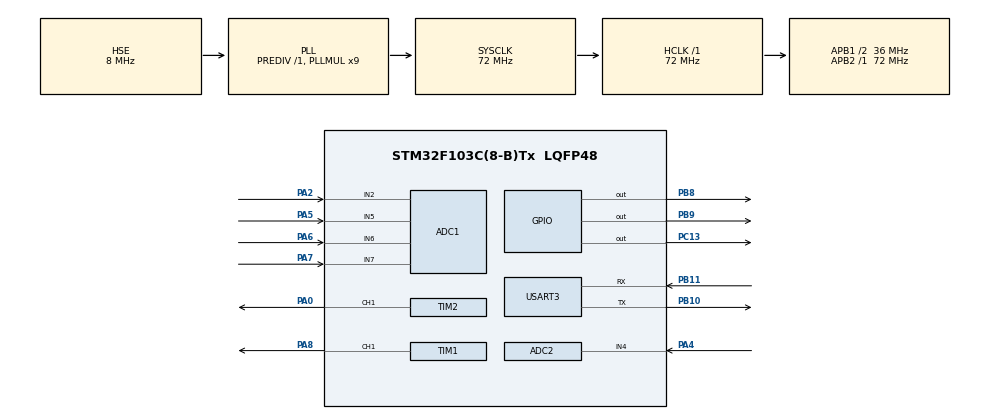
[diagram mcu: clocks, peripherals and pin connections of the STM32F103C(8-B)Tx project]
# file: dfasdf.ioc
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ADC1.Channel-0\#ChannelRegularConversion=ADC_CHANNEL_2
ADC1.Channel-1\#ChannelRegularConversion=ADC_CHANNEL_5
ADC1.Channel-2\#ChannelRegularConversion=ADC_CHANNEL_6
ADC1.Channel-3\#ChannelRegularConversion=ADC_CHANNEL_7
ADC1.ContinuousConvMode=ENABLE
ADC1.NbrOfConversion=4
ADC1.NbrOfConversionFlag=1
ADC1.Rank-0\#ChannelRegularConversion=1
ADC1.Rank-1\#ChannelRegularConversion=2
ADC1.Rank-2\#ChannelRegularConversion=3
ADC1.Rank-3\#ChannelRegularConversion=4
ADC1.SamplingTime-0\#ChannelRegularConversion=ADC_SAMPLETIME_55CYCLES_5
ADC1.SamplingTime-1\#ChannelRegularConversion=ADC_SAMPLETIME_55CYCLES_5
ADC1.SamplingTime-2\#ChannelRegularConversion=ADC_SAMPLETIME_55CYCLES_5
ADC1.SamplingTime-3\#ChannelRegularConversion=ADC_SAMPLETIME_55CYCLES_5
ADC1.master=1
ADC2.Channel-0\#ChannelRegularConversion=ADC_CHANNEL_4
ADC2.NbrOfConversionFlag=1
ADC2.Rank-0\#ChannelRegularConversion=1
ADC2.SamplingTime-0\#ChannelRegularConversion=ADC_SAMPLETIME_55CYCLES_5
Dma.ADC1.0.Direction=DMA_PERIPH_TO_MEMORY
Dma.ADC1.0.Instance=DMA1_Channel1
Dma.ADC1.0.MemDataAlignment=DMA_MDATAALIGN_HALFWORD
Dma.ADC1.0.MemInc=DMA_MINC_ENABLE
Dma.ADC1.0.Mode=DMA_CIRCULAR
Dma.ADC1.0.PeriphDataAlignment=DMA_PDATAALIGN_HALFWORD
Dma.ADC1.0.PeriphInc=DMA_PINC_DISABLE
Dma.ADC1.0.Priority=DMA_PRIORITY_HIGH
Dma.Request0=ADC1
Mcu.Family=STM32F1
Mcu.Name=STM32F103C(8-B)Tx
Mcu.Package=LQFP48
NVIC.ADC1_2_IRQn=true\:1\:0\:true\:false\:true\:true\:true\:true
NVIC.DMA1_Channel1_IRQn=true\:0\:0\:false\:false\:true\:false\:true\:true
NVIC.PriorityGroup=NVIC_PRIORITYGROUP_4
NVIC.TIM2_IRQn=true\:0\:0\:false\:false\:true\:true\:true\:true
PA0-WKUP.Signal=S_TIM2_CH1_ETR
PA13.Mode=Serial_Wire
PA13.Signal=SYS_JTMS-SWDIO
PA14.Mode=Serial_Wire
PA14.Signal=SYS_JTCK-SWCLK
PA2.Signal=ADCx_IN2
PA4.Signal=ADCx_IN4
PA5.Signal=ADCx_IN5
PA6.Signal=ADCx_IN6
PA7.Signal=ADCx_IN7
PA8.Signal=S_TIM1_CH1
PB10.Mode=Asynchronous
PB10.Signal=USART3_TX
PB11.Mode=Asynchronous
PB11.Signal=USART3_RX
PB8.GPIO_ModeDefaultOutputPP=GPIO_MODE_OUTPUT_PP
PB8.GPIO_PuPd=GPIO_NOPULL
PB8.GPIO_Speed=GPIO_SPEED_FREQ_HIGH
PB8.PinState=GPIO_PIN_SET
PB8.Signal=GPIO_Output
PB9.GPIO_ModeDefaultOutputPP=GPIO_MODE_OUTPUT_PP
PB9.GPIO_PuPd=GPIO_NOPULL
PB9.GPIO_Speed=GPIO_SPEED_FREQ_HIGH
PB9.PinState=GPIO_PIN_SET
PB9.Signal=GPIO_Output
PC13-TAMPER-RTC.Signal=GPIO_Output
PD0-OSC_IN.Mode=HSE-External-Oscillator
PD0-OSC_IN.Signal=RCC_OSC_IN
PD1-OSC_OUT.Mode=HSE-External-Oscillator
PD1-OSC_OUT.Signal=RCC_OSC_OUT
ProjectManager.HeapSize=0x200
ProjectManager.StackSize=0x400
ProjectManager.TargetToolchain=MDK-ARM V5.32
RCC.ADCPresc=RCC_ADCPCLK2_DIV6
RCC.AHBFreq_Value=72000000
RCC.APB1CLKDivider=RCC_HCLK_DIV2
RCC.APB1Freq_Value=36000000
RCC.APB1TimFreq_Value=72000000
RCC.APB2Freq_Value=72000000
RCC.APB2TimFreq_Value=72000000
RCC.HCLKFreq_Value=72000000
RCC.PLLMUL=RCC_PLL_MUL9
RCC.PLLSourceVirtual=RCC_PLLSOURCE_HSE
RCC.SYSCLKFreq_VALUE=72000000
RCC.SYSCLKSource=RCC_SYSCLKSOURCE_PLLCLK
RCC.USBFreq_Value=72000000
SH.ADCx_IN2.0=ADC1_IN2,IN2
SH.ADCx_IN4.0=ADC2_IN4,IN4
SH.ADCx_IN5.0=ADC1_IN5,IN5
SH.ADCx_IN6.0=ADC1_IN6,IN6
SH.ADCx_IN7.0=ADC1_IN7,IN7
SH.S_TIM1_CH1.0=TIM1_CH1,PWM Generation1 CH1
SH.S_TIM2_CH1_ETR.0=TIM2_CH1,PWM Generation1 CH1
TIM1.Channel-PWM\ Generation1\ CH1=TIM_CHANNEL_1
TIM1.Period=2880 - 1
TIM2.AutoReloadPreload=TIM_AUTORELOAD_PRELOAD_DISABLE
TIM2.Channel-PWM\ Generation1\ CH1=TIM_CHANNEL_1
TIM2.Period=499
TIM2.Prescaler=71
USART3.VirtualMode=VM_ASYNC
VP_TIM1_VS_ClockSourceINT.Mode=Internal
VP_TIM2_VS_ClockSourceINT.Mode=Internal
board=custom

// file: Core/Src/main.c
/* USER CODE BEGIN Header */
/**
 ******************************************************************************
 * @file           : main.c
 * @brief          : Main program body
 ******************************************************************************
 * @attention
 *
 * Copyright (c) 2025 STMicroelectronics.
 * All rights reserved.
 *
 * This software is licensed under terms that can be found in the LICENSE file
 * in the root directory of this software component.
 * If no LICENSE file comes with this software, it is provided AS-IS.
 *
 ******************************************************************************
 */
/* USER CODE END Header */
#include "main.h"
#include "adc.h"
#include "dma.h"
#include "tim.h"
#include "usart.h"
#include "gpio.h"

/* USER CODE BEGIN Includes */
#include <stdint.h>
#include <stdio.h>
#include <math.h>
#include "oled.h"
#include "usart.h" // CubeMX generated
/* USER CODE END Includes */

/* USER CODE BEGIN PTD */
typedef enum {
  STATE_DARK,
  STATE_BRIGHT
} LightState;

// Protocol Packet
typedef struct __attribute__((packed)) {
  uint8_t head1; // 0xAA
  uint8_t head2; // 0x55
  float voltage;
  float ac_voltage;
  float temperature;
  float battery;
  float current;
  uint8_t checksum;
} UART_Packet;
/* USER CODE END PTD */

/* USER CODE BEGIN PD */
#define MAX_VOLTAGE 20.0f // 系统最大测量电压 (3.3V * 5.965)
#define PWM_PERIOD 2880   // PWM周期计数值

// 硬件参数定义 (NTC)
#define R_UP          3000.0f   // 上拉电阻 R72 = 3K
#define R_PARALLEL    5000.0f  // 并联电阻 R73 = 5K
#define V_CC          3.3f     // 供电电压 3.3V
#define B_VALUE       3950.0f  // NTC的B值
#define R_NTC_25      20000.0f //
#define T25           298.15f  // 25度对应的开尔文温度

// 1. 采样电阻 (R66)
#define CURRENT_SENSE_RES  0.005f  // 5毫欧

// 2. 运放放大倍数 (51k / 1k)
#define CURRENT_AMP_GAIN   51.0f   // 放大51倍

// 定义两个不同的窗口大小
#define FILTER_SIZE_FAST 10   // 给电流用 (5ms响应)
#define FILTER_SIZE_SLOW 80   // 给温度/电池用 (32ms响应，能盖过50Hz周期)
#define MAX_FILTER_SIZE  128   // 最大的那个，用于定义数组

typedef struct {
  uint16_t buffer[MAX_FILTER_SIZE]; // 数组开到最大
  uint8_t index;
  uint32_t sum;
  uint8_t count;
  uint8_t size; // 新增：每个滤波器自己的大小
} Filter_t;

typedef struct {
  float buffer[MAX_FILTER_SIZE];
  uint8_t index;
  float sum;
  uint8_t count;
  uint8_t size; // 新增
} Filter_Float_t;
/* USER CODE END PD */

/* USER CODE BEGIN PV */
PI_Controller voltage_pi;        // 电压环PI控制器
float voltage_setpoint = 12.0;   // 电压设定值 12V
float voltage_feedback = 0;      // 电压反馈值
uint16_t pwm_duty = 0;           // PWM占空比
volatile uint16_t adc_value = 0; // ADC转换结果 (由ADC中断更新)
volatile uint8_t adc_ready = 0;  // ADC数据就绪标志
LightState light_state = STATE_DARK;
float adc2_value = 0.0f;

// RMS Calculation Variables
volatile float adc_rms_voltage = 0.0f;
uint64_t adc_sq_sum = 0;
uint16_t adc_sample_cnt = 0;
#define RMS_SAMPLE_COUNT 100

// RMS Calculation Buffers (Main Loop)
volatile uint64_t adc_sq_sum_buf = 0;
volatile float vac_sq_sum_buf = 0.0f;
volatile uint8_t rms_ready_flag = 0; // Bit 0: ADC1, Bit 1: ADC2

// ADC DMA Buffer
volatile uint16_t adc_dma_buffer[4];
// buffer[0]: Feedback (PA2)
// buffer[1]: Temp (PA5)
// buffer[2]: Bat (PA6)
// buffer[3]: Current (PA7)

volatile uint16_t adc_vac_raw = 0;     // ADC2 PA4
volatile uint16_t adc_temp_raw = 0;    // ADC1 PA5
volatile uint16_t adc_bat_raw = 0;     // ADC1 PA6
volatile uint16_t adc_current_raw = 0; // ADC1 PA7

// Filtered Values
volatile uint16_t adc_temp_flt = 0;
volatile uint16_t adc_bat_flt = 0;
volatile uint16_t adc_current_flt = 0;
volatile float vac_rms_flt = 0.0f;

// Filter Structures
Filter_t flt_temp = {0};
Filter_t flt_bat = {0};
Filter_t flt_current = {0};
Filter_Float_t flt_vac = {0};

// VAC RMS Calculation Variables
volatile float vac_rms_voltage = 0.0f;
float vac_sq_sum = 0.0f;
uint16_t vac_sample_cnt = 0;
/* USER CODE END PV */

void SystemClock_Config(void);
/* USER CODE BEGIN PFP */
float Get_Temperature(uint16_t adc_val);
uint16_t Apply_Filter(Filter_t *f, uint16_t val);
float Apply_Filter_Float(Filter_Float_t *f, float val);
void Control_Loop_HAL(void); // Add prototype
void Filter_Init(Filter_t *f, uint8_t size);
void Filter_Float_Init(Filter_Float_t *f, uint8_t size);
/* USER CODE END PFP */

int main(void)
{

  /* MCU Configuration--------------------------------------------------------*/

  /* Reset of all peripherals, Initializes the Flash interface and the Systick. */
  HAL_Init();

  /* Configure the system clock */
  SystemClock_Config();

  /* Initialize all configured peripherals */
  MX_GPIO_Init();
  MX_DMA_Init();
  MX_TIM1_Init();
  MX_ADC1_Init();
  MX_TIM2_Init();
  MX_ADC2_Init();
  MX_USART3_UART_Init();
  /* USER CODE BEGIN 2 */

  // OLED_Init();
  // 初始化PI控制器
  // 对应参数: Kp=1.0, Ki=10.0, 输出限幅[0.0, 1.0]
  PI_Init(&voltage_pi, 1.0f, 12.0f, 1.0f, 0.0f);

  // 启动PWM (TIM1)
  HAL_TIM_PWM_Start(&htim1, TIM_CHANNEL_1);

  // 启动风扇PWM (TIM2_CH1)
  HAL_TIM_PWM_Start(&htim2, TIM_CHANNEL_1);
  __HAL_TIM_SET_COMPARE(&htim2, TIM_CHANNEL_1, 500); // 默认满速 (Period=499)

  // 校准ADC (提高精度)
  HAL_ADCEx_Calibration_Start(&hadc1);

  // 启动 ADC1 DMA (循环模式, 自动搬运4个通道数据)
  HAL_ADC_Start_DMA(&hadc1, (uint32_t*)adc_dma_buffer, 4);

  // --- 初始化滤波器 ---
  // 温度和电池：用慢速 (64个点 = 32ms窗口)，为了稳！
  Filter_Init(&flt_temp, FILTER_SIZE_SLOW + 10);
  Filter_Init(&flt_bat, FILTER_SIZE_SLOW + 10);

  // 电流
  Filter_Init(&flt_current, FILTER_SIZE_SLOW);

  Filter_Float_Init(&flt_vac, 4);

  // 启动控制循环定时器 (TIM2)
  HAL_TIM_Base_Start_IT(&htim2);

  /* USER CODE END 2 */

  /* Infinite loop */
  /* USER CODE BEGIN WHILE */
  while (1)
  {
    // --- RMS 计算处理  ---
    if (rms_ready_flag & 0x01) // ADC1 Feedback
    {
      float mean_sq = (float)adc_sq_sum_buf / RMS_SAMPLE_COUNT;
      float rms_adc = sqrtf(mean_sq);
      adc_rms_voltage = (rms_adc * 3.3f / 4096.0f) * 5.965f;
      rms_ready_flag &= ~0x01;
    }

    if (rms_ready_flag & 0x02) // ADC2 VAC
    {
      float mean_sq = vac_sq_sum_buf / RMS_SAMPLE_COUNT;
      vac_rms_voltage = sqrtf(mean_sq);
      vac_rms_flt = Apply_Filter_Float(&flt_vac, vac_rms_voltage);
      rms_ready_flag &= ~0x02;
    }
    // -----------------------------

    // char buf[20];

    // 1. 稳压反馈
    // (void)snprintf(buf, sizeof(buf), "V:%-5.2fV", adc_rms_voltage);
    // OLED_ShowString(0, 0, buf, 12);

    // 2. 市电电压
    // (void)snprintf(buf, sizeof(buf), "AC:%-4.2fV", vac_rms_flt*404.0f);
    // OLED_ShowString(0, 2, buf, 12);

    // 3. 温度 & 电池
    float temp_val = Get_Temperature(adc_temp_flt) - 71.0f;
    float bat_val = ((float)adc_bat_flt * 3.3f / 4096.0f) * 12.0f;
    // (void)snprintf(buf, sizeof(buf), "T:%-3.1f B:%-3.1f", temp_val, bat_val);
    // OLED_ShowString(0, 4, buf, 12);

    // 4. 母线电流
    float v_pin = (float)adc_current_flt * 3.3f / 4096.0f;
    float current_actual = v_pin / (CURRENT_SENSE_RES * CURRENT_AMP_GAIN);

    if (current_actual < 0.1f) current_actual = 0.0f; // 强制归零小电流噪音

    // (void)snprintf(buf, sizeof(buf), "I:%-4.2fA", current_actual/11.0f);
    // OLED_ShowString(0, 6, buf, 12);

    // --- UART Sending (20Hz) ---
    UART_Packet pkt;
    pkt.head1 = 0xAA;
    pkt.head2 = 0x55;
    pkt.voltage = adc_rms_voltage;
    pkt.ac_voltage = vac_rms_flt * 404.0f;
    pkt.temperature = temp_val;
    pkt.battery = bat_val;
    pkt.current = current_actual / 11.0f;

    // Checksum
    pkt.checksum = 0;
    uint8_t *p_chk = (uint8_t*)&pkt.voltage;
    for(int i=0; i<20; i++) {
        pkt.checksum += p_chk[i];
    }

    extern UART_HandleTypeDef huart3;
    // Debug: Send Text to verify connection
    HAL_UART_Transmit(&huart3, (uint8_t*)&pkt, sizeof(pkt), 10);
    // uint8_t debug_msg[] = "HelloUART\n";
    // HAL_StatusTypeDef u_status = HAL_UART_Transmit(&huart3, debug_msg, 10, 100);

    // Debug output to OLED: Show UART Status
    // HAL_OK=0, HAL_ERROR=1, HAL_BUSY=2, HAL_TIMEOUT=3
    // char status_buf[10];
    // snprintf(status_buf, sizeof(status_buf), "U:%d", u_status);
    // OLED_ShowString(64, 6, status_buf, 12);
    // ---------------------------

    HAL_Delay(50); // 刷新率 20Hz
    /* USER CODE END WHILE */

  }
}

void SystemClock_Config(void)
{
  RCC_OscInitTypeDef RCC_OscInitStruct = {0};
  RCC_ClkInitTypeDef RCC_ClkInitStruct = {0};
  RCC_PeriphCLKInitTypeDef PeriphClkInit = {0};

  /** Initializes the RCC Oscillators according to the specified parameters
  * in the RCC_OscInitTypeDef structure.
  */
  RCC_OscInitStruct.OscillatorType = RCC_OSCILLATORTYPE_HSE;
  RCC_OscInitStruct.HSEState = RCC_HSE_ON;
  RCC_OscInitStruct.HSEPredivValue = RCC_HSE_PREDIV_DIV1;
  RCC_OscInitStruct.HSIState = RCC_HSI_ON;
  RCC_OscInitStruct.PLL.PLLState = RCC_PLL_ON;
  RCC_OscInitStruct.PLL.PLLSource = RCC_PLLSOURCE_HSE;
  RCC_OscInitStruct.PLL.PLLMUL = RCC_PLL_MUL9;
  if (HAL_RCC_OscConfig(&RCC_OscInitStruct) != HAL_OK)
  {
    Error_Handler();
  }

  /** Initializes the CPU, AHB and APB buses clocks
  */
  RCC_ClkInitStruct.ClockType = RCC_CLOCKTYPE_HCLK|RCC_CLOCKTYPE_SYSCLK
                              |RCC_CLOCKTYPE_PCLK1|RCC_CLOCKTYPE_PCLK2;
  RCC_ClkInitStruct.SYSCLKSource = RCC_SYSCLKSOURCE_PLLCLK;
  RCC_ClkInitStruct.AHBCLKDivider = RCC_SYSCLK_DIV1;
  RCC_ClkInitStruct.APB1CLKDivider = RCC_HCLK_DIV2;
  RCC_ClkInitStruct.APB2CLKDivider = RCC_HCLK_DIV1;

  if (HAL_RCC_ClockConfig(&RCC_ClkInitStruct, FLASH_LATENCY_2) != HAL_OK)
  {
    Error_Handler();
  }
  PeriphClkInit.PeriphClockSelection = RCC_PERIPHCLK_ADC;
  PeriphClkInit.AdcClockSelection = RCC_ADCPCLK2_DIV6;
  if (HAL_RCCEx_PeriphCLKConfig(&PeriphClkInit) != HAL_OK)
  {
    Error_Handler();
  }
}

/* USER CODE BEGIN 4 */

void PI_Init(PI_Controller *pi, float kp, float ki, float max, float min)
{
  pi->Kp = kp;
  pi->Ki = ki;
  pi->integral = 0;
  pi->output_max = max;
  pi->output_min = min;
}

float PI_Update(PI_Controller *pi, float setpoint, float feedback)
{
  // 1. 计算误差
  float error = setpoint - feedback;

  // 2. 计算PI输出
  float output = pi->Kp * error + pi->Ki * pi->integral;

  // 3. 总输出限幅
  float output_clamped = output;
  if (output_clamped > pi->output_max)
  {
    output_clamped = pi->output_max;
  }
  else if (output_clamped < pi->output_min)
  {
    output_clamped = pi->output_min;
  }

  if ((error > 0.0f && output < pi->output_max) || (error < 0.0f && output > pi->output_min))
  {
    pi->integral += error * 0.0005f;
  }

  // 5. 返回被限幅后的输出
  return output_clamped;
}

void Control_Loop_HAL(void)
{
  // 1. 直接从 DMA 数组取值 (Feedback = buffer[0])
  uint16_t raw_feedback = adc_dma_buffer[0];

  // 转换电压
  voltage_feedback = ((float)raw_feedback * 3.3f / 4096.0f) * 5.965f;

  // --- RMS 计算 (Feedback) ---
  // 移入控制循环，保持与之前类似的统计逻辑
  adc_sq_sum += (uint64_t)raw_feedback * raw_feedback;
  adc_sample_cnt++;
  if (adc_sample_cnt >= RMS_SAMPLE_COUNT)
  {
    adc_sq_sum_buf = adc_sq_sum;
    rms_ready_flag |= 0x01; // 标记ADC1数据就绪

    adc_sq_sum = 0;
    adc_sample_cnt = 0;
  }

  // --- 更新其他传感器滤波值 ---
  // Temp (buffer[1]), Bat (buffer[2]), Current (buffer[3])
  adc_temp_flt = Apply_Filter(&flt_temp, adc_dma_buffer[1]);
  adc_bat_flt = Apply_Filter(&flt_bat, adc_dma_buffer[2]);
  adc_current_flt = Apply_Filter(&flt_current, adc_dma_buffer[3]);
  // ---------------------------

  // 2. 归一化处理 (0.0 ~ 1.0)
  float feedback_norm = voltage_feedback / MAX_VOLTAGE;
  float setpoint_norm = voltage_setpoint / MAX_VOLTAGE;

  // 3. PI调节 (输入输出都是 0.0~1.0)
  float control_norm = PI_Update(&voltage_pi, setpoint_norm, feedback_norm);

  // 4. 映射回PWM占空比
  pwm_duty = (uint16_t)(control_norm * PWM_PERIOD);
  __HAL_TIM_SET_COMPARE(&htim1, TIM_CHANNEL_1, pwm_duty);

  // 5. 启动 ADC2 (VAC) 转换 (ADC1 由 DMA 自动处理，无需手动启动)
  HAL_ADC_Start_IT(&hadc2);
}

void HAL_TIM_PeriodElapsedCallback(TIM_HandleTypeDef *htim)
{
  // 检查是否是TIM2的中断 (控制循环)
  if (htim->Instance == TIM2)
  {
    // 执行控制循环 (只读取、计算、输出,不阻塞)
    Control_Loop_HAL();

    // HAL_GPIO_TogglePin(GPIOC, GPIO_PIN_13);
  }
}
 */
void HAL_TIM_PeriodElapsedCallback(TIM_HandleTypeDef *htim)
{
  // 检查是否是TIM2的中断 (控制循环)
  if (htim->Instance == TIM2)
  {
    // 执行控制循环 (只读取、计算、输出,不阻塞)
    Control_Loop_HAL();

    // HAL_GPIO_TogglePin(GPIOC, GPIO_PIN_13);
  }
}

void HAL_ADC_ConvCpltCallback(ADC_HandleTypeDef *hadc)
{
  if (hadc->Instance == ADC2)
  {
    adc_vac_raw = HAL_ADC_GetValue(&hadc2);

    // 市电电压有效值计算 (RMS)
    // 1. 转换为电压值 (0-3.3V)
    float v_in = (float)adc_vac_raw * 3.3f / 4096.0f;
    // 2. 减去直流偏置 1.5V
    float v_ac = v_in - 1.5f;
    // 3. 累加平方和
    vac_sq_sum += v_ac * v_ac;
    vac_sample_cnt++;

    if (vac_sample_cnt >= RMS_SAMPLE_COUNT)
    {
      // 4. 计算均方根
      vac_sq_sum_buf = vac_sq_sum;
      rms_ready_flag |= 0x02; // 标记ADC2数据就绪
      // 清零重新累计
      vac_sq_sum = 0.0f;
      vac_sample_cnt = 0;
    }
  }
}

uint16_t Apply_Filter(Filter_t *f, uint16_t val)
{
  f->sum -= f->buffer[f->index];
  f->buffer[f->index] = val;
  f->sum += val;

  f->index++;
  if (f->index >= f->size)
  {
    f->index = 0;
  }

  if (f->count < f->size)
  {
    f->count++;
  }

  return (uint16_t)(f->sum / f->count);
}

/**
 * @brief  滑动平均滤波 (float)
 */
void Filter_Init(Filter_t *f, uint8_t size) {
    f->size = (size > MAX_FILTER_SIZE) ? MAX_FILTER_SIZE : size;
    f->index = 0;
    f->sum = 0;
    f->count = 0;
    for(int i=0; i<MAX_FILTER_SIZE; i++) f->buffer[i] = 0;
}

void Filter_Float_Init(Filter_Float_t *f, uint8_t size) {
    f->size = (size > MAX_FILTER_SIZE) ? MAX_FILTER_SIZE : size;
    f->index = 0;
    f->sum = 0.0f;
    f->count = 0;
    for(int i=0; i<MAX_FILTER_SIZE; i++) f->buffer[i] = 0.0f;
}

/**
 * @brief  滑动平均滤波 (float)
 * @note   Add missing functions
 */
float Apply_Filter_Float(Filter_Float_t *f, float val)
{
  f->sum -= f->buffer[f->index];
  f->buffer[f->index] = val;
  f->sum += val;

  f->index++;
  if (f->index >= f->size)
  {
    f->index = 0;
  }

  if (f->count < f->size)
  {
    f->count++;
  }

  return f->sum / f->count;
}

// 20K B3950 Steinhart-Hart 系数
#define SH_A 0.001016186f
#define SH_B 0.000224868f
#define SH_C 0.0000001156f

float Get_Temperature(uint16_t adc_val)
{
    // 1. 算出引脚电压
    float v_pin = (float)adc_val * 3.3f / 4096.0f;

    // 保护：防止除以0或电压异常
    if(v_pin >= V_CC || v_pin <= 0.1f) return 0.0f;

    // 2. 反推 NTC 电阻值 (保持你原有的电路逻辑)
    // R_down = (V_pin * R_UP) / (V_cc - V_pin)
    float r_down = (v_pin * R_UP) / (V_CC - v_pin);

    // 剥离并联电阻 R_PARALLEL (如果你板子上还有 R73 5K 的话)
    // 如果没有 R73，直接用 r_ntc = r_down
    float r_ntc = 1.0f / ( (1.0f / r_down) - (1.0f / R_PARALLEL) );

    // 再次检查负值（防止并联电阻计算溢出）
    if (r_ntc <= 0.0f) return 0.0f;

    // 3. 使用拟合好的 Steinhart-Hart 公式计算温度
    float log_r = logf(r_ntc); // 取自然对数
    float log_r3 = log_r * log_r * log_r; // 对数的立方

    // Steinhart-Hart 公式: 1/T = A + B*ln(R) + C*(ln(R))^3
    float temp_kelvin = 1.0f / (SH_A + SH_B * log_r + SH_C * log_r3);

    // 转摄氏度
    float temp_celsius = temp_kelvin - 273.15f;

    return temp_celsius;
}

/* USER CODE END 4 */

void Error_Handler(void)
{
  __disable_irq();
  while (1)
  {
  }
}
